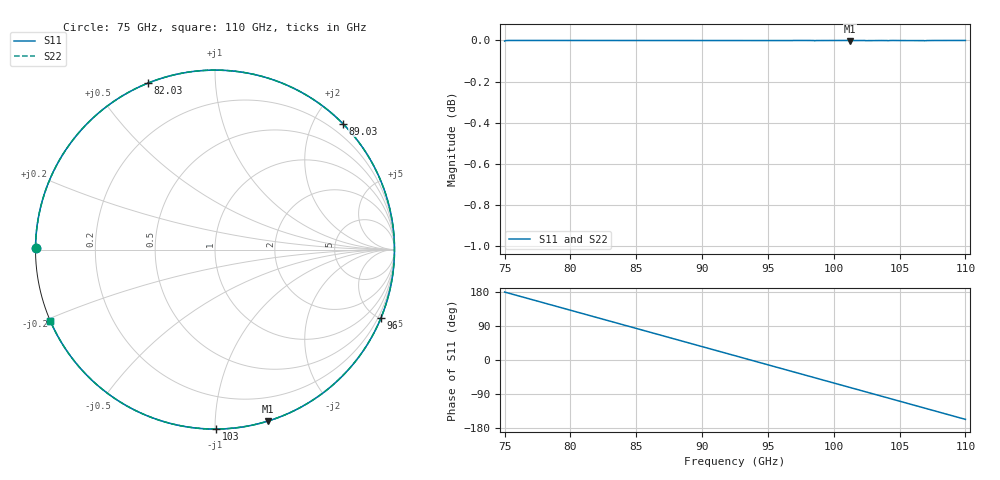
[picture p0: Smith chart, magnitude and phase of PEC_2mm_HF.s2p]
! TOUCHSTONE file generated by CST MICROWAVE STUDIO
! Date and time: Fri Feb  2 21:34:41 2024
! Project name: metal_prueba.cst
! Header version: 2018
! Port assignment regex: !\s*Touchstone port\s*([0-9]+)\s*=\s*(CST MWS port|CST DS port)\s*([0-9]+|Zmin|Zmax)\s*\(\"(.*)\"\)(\s*mode\s*([0-9]+))?.*
! Touchstone port assignment:
! Touchstone port 1 = CST MWS port 1 ("")
! Touchstone port 2 = CST MWS port 2 ("")
# GHz S MA R 376.7
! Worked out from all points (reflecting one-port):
!   1001 points, 75 GHz to 110 GHz, reference 376.7 ohm
!   lowest |S11| = 0.0 dB at 101.2 GHz (marker M1)
!   phase of S11 starts at 179 deg and turns -336 deg over the sweep
!   S11 on the Smith chart (normalised r, x): 75 GHz: 0.00, +0.01; 82.03 GHz: 0.00, +0.68; 89.03 GHz: 0.00, +2.44; 96 GHz: 0.00, -5.07; 103 GHz: 0.00, -1.01; 110 GHz: 0.00, -0.21
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75  0.9997 179.3  0 0.0  0 0.0  0.9997 179.4
76.4  1 165.9  3.599e-65 -180.0  3.599e-65 -180.0  1 165.9
77.8  1 152.5  3.299e-65 -180.0  3.299e-65 -180.0  1 152.5
79.27  1 138.4  2.9e-65 -180.0  2.9e-65 -180.0  1 138.4
80.845  1 123.2  2.5e-65 -180.0  2.5e-65 -180.0  1 123.2
82.035  1 111.8  2.2e-65 -180.0  2.2e-65 -180.0  1 111.8
84.345  1 89.7  1.6e-65 -180.0  1.6e-65 -180.0  1 89.7
86.69  1 67.1  1.1e-65 -180.0  1.1e-65 -180.0  1 67.1
89.035  1 44.6  6.001e-66 -180.0  6.001e-66 -180.0  1 44.6
90.82  1 27.5  4.001e-66 -180.0  4.001e-66 -180.0  1 27.5
92.5  1 11.3  0 0.0  0 0.0  1 11.3
94.25  1 -5.5  3.001e-66 -0.0  3.001e-66 -0.0  1 -5.5
96  1 -22.3  6.001e-66 -0.0  6.001e-66 -0.0  1 -22.3
98.345  1 -44.9  1.2e-65 -0.0  1.2e-65 -0.0  1 -44.9
99.85  1 -59.3  1.5e-65 -0.0  1.5e-65 -0.0  1 -59.3
101.25  0.9996 -72.8  0 0.0  0 0.0  1 -72.8
103  1 -89.6  2.3e-65 -0.0  2.3e-65 -0.0  1 -89.6
104.19  0.9999 -101.0  2.6e-65 -0.0  2.6e-65 -0.0  1 -101.0
105.485  0.9999 -113.4  2.9e-65 -0.0  2.9e-65 -0.0  1 -113.4
106.85  0.9999 -126.5  3.2e-65 -0.0  3.2e-65 -0.0  0.9999 -126.5
108.53  1 -142.6  3.599e-65 -0.0  3.599e-65 -0.0  1 -142.6
110  1 -156.7  0 0.0  0 0.0  1 -156.7
